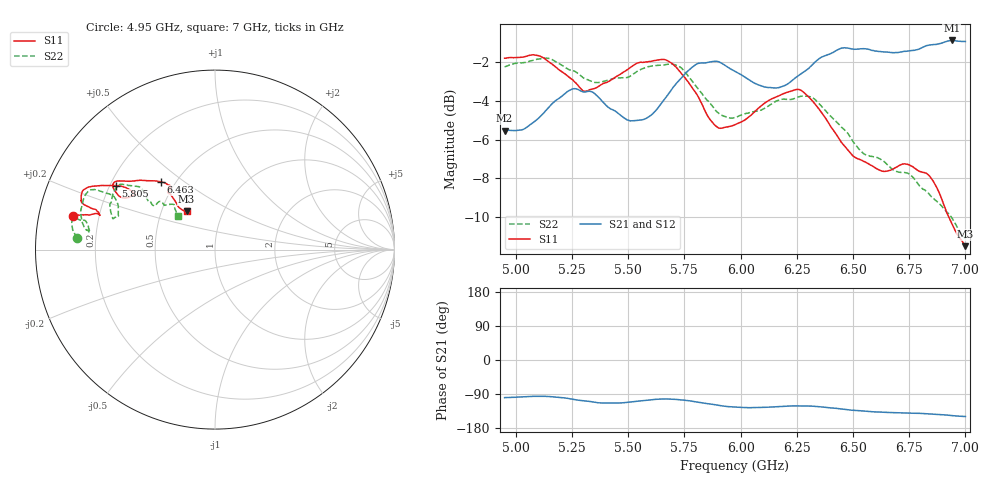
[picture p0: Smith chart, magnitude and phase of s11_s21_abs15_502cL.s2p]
! MS46122B
! 1919307/90821646
! 5/25/2022 12:37:13 PM
! C:\USERS\PC_\DESKTOP\CARACTERIZACION\MEDICIONES\S11_S21_ABS15_502CL.S2P
! CHANNEL.1
! TR.MEASUREMENT
! CORRECTED.DATA
# GHZ S RI R 50.0
! FREQ.GHZ  S11RE  S11IM  S21RE  S21IM  S12RE  S12IM  S22RE  S22IM
!; PortSelection: Port_12
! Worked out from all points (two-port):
!   272 points, 4.95 GHz to 7 GHz, reference 50 ohm
!   highest |S21| = -0.88 dB at 6.939 GHz (marker M1); lowest = -5.5 dB at 4.95 GHz (marker M2)
!   |S21| within 3 dB of the highest: 5.19 GHz to 5.374 GHz (183.9 MHz wide, 3.48 % of centre); 5.664 GHz to end of sweep
!   lowest |S11| = -11.5 dB at 7 GHz (marker M3), VSWR 1.73, Z = 33.5 + j15.4 ohm
!   |S11| at or under -10 dB: 6.927 GHz to end of sweep
!   |S22| runs from -11.1 to -1.8 dB; largest |S21 - S12| = 0.01
!   S11 on the Smith chart (normalised r, x): 4.95 GHz: 0.10, +0.12; 5.805 GHz: 0.22, +0.28; 6.463 GHz: 0.42, +0.41; 7 GHz: 0.67, +0.31
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4.95  -0.7906 0.1889  -0.0855 -0.5219  -0.0821 -0.5271  -0.7698 0.0647
5.13155  -0.7852 0.1903  -0.0611 -0.5911  -0.0656 -0.5904  -0.7957 0.166
5.237454  -0.6998 0.1931  -0.138 -0.6568  -0.1338 -0.6504  -0.7421 0.1601
5.29797  -0.6417 0.1935  -0.1985 -0.636  -0.1917 -0.6317  -0.7108 0.1441
5.373616  -0.6574 0.215  -0.2518 -0.5884  -0.2448 -0.5902  -0.6983 0.0938
5.494649  -0.718 0.2446  -0.2095 -0.5235  -0.2096 -0.5266  -0.7165 0.1085
5.638376  -0.7433 0.3107  -0.1405 -0.5954  -0.143 -0.595  -0.7455 0.2296
5.721587  -0.6736 0.3537  -0.1765 -0.6853  -0.1783 -0.6812  -0.7053 0.3261
5.804797  -0.5509 0.357  -0.2798 -0.7341  -0.2766 -0.7303  -0.6079 0.3156
5.888007  -0.447 0.3109  -0.3792 -0.7018  -0.3724 -0.7017  -0.541 0.2522
5.978782  -0.46 0.3001  -0.4218 -0.6197  -0.4165 -0.6259  -0.5418 0.1846
6.084686  -0.5312 0.2961  -0.4013 -0.564  -0.3997 -0.5666  -0.5704 0.1738
6.20572  -0.5675 0.3442  -0.3653 -0.5921  -0.3651 -0.5906  -0.5809 0.2611
6.258672  -0.5623 0.374  -0.3802 -0.6291  -0.3763 -0.6269  -0.5708 0.3037
6.319188  -0.5024 0.3823  -0.4122 -0.6645  -0.4087 -0.6637  -0.5315 0.3629
6.462915  -0.3005 0.3769  -0.5624 -0.6574  -0.5564 -0.6618  -0.4094 0.3383
6.546125  -0.256 0.3591  -0.605 -0.6117  -0.6004 -0.6184  -0.3728 0.2727
6.659594  -0.2464 0.3364  -0.6317 -0.5574  -0.6306 -0.5589  -0.3491 0.2493
6.727675  -0.2527 0.3531  -0.6454 -0.5484  -0.6452 -0.5469  -0.3198 0.261
6.833579  -0.2585 0.3151  -0.6926 -0.5388  -0.6902 -0.5367  -0.2673 0.25
6.939483  -0.1973 0.2318  -0.7551 -0.496  -0.7482 -0.4969  -0.222 0.2241
7  -0.1583 0.2143  -0.7714 -0.4597  -0.764 -0.4625  -0.2074 0.1863
